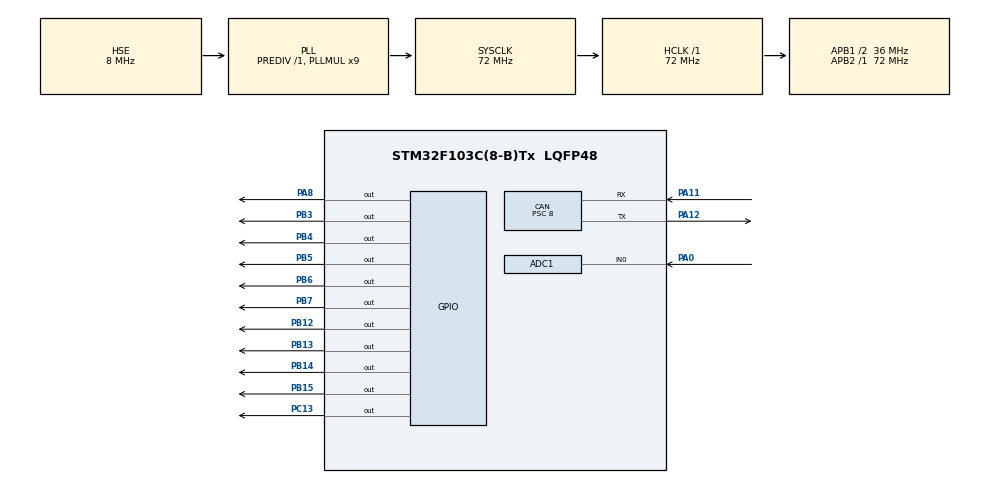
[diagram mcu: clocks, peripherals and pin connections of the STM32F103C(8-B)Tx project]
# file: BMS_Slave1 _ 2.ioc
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ADC1.Channel-0\#ChannelRegularConversion=ADC_CHANNEL_0
ADC1.NbrOfConversionFlag=1
ADC1.Rank-0\#ChannelRegularConversion=1
ADC1.SamplingTime-0\#ChannelRegularConversion=ADC_SAMPLETIME_1CYCLE_5
ADC1.master=1
CAN.BS1=CAN_BS1_4TQ
CAN.BS2=CAN_BS2_4TQ
CAN.CalculateBaudRate=500000
CAN.CalculateTimeBit=2000
CAN.CalculateTimeQuantum=222.22222222222223
CAN.Prescaler=8
Mcu.Family=STM32F1
Mcu.Name=STM32F103C(8-B)Tx
Mcu.Package=LQFP48
NVIC.PriorityGroup=NVIC_PRIORITYGROUP_4
PA0-WKUP.Signal=ADCx_IN0
PA11.Mode=CAN_Activate
PA11.Signal=CAN_RX
PA12.Mode=CAN_Activate
PA12.Signal=CAN_TX
PA13.Mode=Serial_Wire
PA13.Signal=SYS_JTMS-SWDIO
PA14.Mode=Serial_Wire
PA14.Signal=SYS_JTCK-SWCLK
PA8.Signal=GPIO_Output
PB12.Signal=GPIO_Output
PB13.Signal=GPIO_Output
PB14.Signal=GPIO_Output
PB15.Signal=GPIO_Output
PB3.Signal=GPIO_Output
PB4.Signal=GPIO_Output
PB5.Signal=GPIO_Output
PB6.Signal=GPIO_Output
PB7.Signal=GPIO_Output
PC13-TAMPER-RTC.Signal=GPIO_Output
PD0-OSC_IN.Mode=HSE-External-Oscillator
PD0-OSC_IN.Signal=RCC_OSC_IN
PD1-OSC_OUT.Mode=HSE-External-Oscillator
PD1-OSC_OUT.Signal=RCC_OSC_OUT
ProjectManager.HeapSize=0x200
ProjectManager.StackSize=0x400
ProjectManager.TargetToolchain=STM32CubeIDE
RCC.ADCPresc=RCC_ADCPCLK2_DIV6
RCC.AHBFreq_Value=72000000
RCC.APB1CLKDivider=RCC_HCLK_DIV2
RCC.APB1Freq_Value=36000000
RCC.APB1TimFreq_Value=72000000
RCC.APB2Freq_Value=72000000
RCC.APB2TimFreq_Value=72000000
RCC.HCLKFreq_Value=72000000
RCC.PLLMUL=RCC_PLL_MUL9
RCC.PLLSourceVirtual=RCC_PLLSOURCE_HSE
RCC.SYSCLKFreq_VALUE=72000000
RCC.SYSCLKSource=RCC_SYSCLKSOURCE_PLLCLK
RCC.USBFreq_Value=72000000
SH.ADCx_IN0.0=ADC1_IN0,IN0
board=custom

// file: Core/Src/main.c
/* USER CODE BEGIN Header */
/**
  ******************************************************************************
  * @file           : main.c
  * @brief          : Main program body
  ******************************************************************************
  * @attention
  *
  * Copyright (c) 2024 STMicroelectronics.
  * All rights reserved.
  *
  * This software is licensed under terms that can be found in the LICENSE file
  * in the root directory of this software component.
  * If no LICENSE file comes with this software, it is provided AS-IS.
  *
  ******************************************************************************
  */
/* USER CODE END Header */
#include "main.h"

/* USER CODE BEGIN Includes */
#include "main.h"
#include <math.h>
/* USER CODE END Includes */

ADC_HandleTypeDef hadc1;

CAN_HandleTypeDef hcan;

/* USER CODE BEGIN PV */
uint16_t adc1, adc2;
int count=0;
int counter=0;
int i=0;
int flag=0;
int j=0;
int b_con;
float temp1;
float temp2;
float voltage1;
float voltage2;
float voltage3;
float voltage4;
float voltage5;
float voltage6;
float voltage7;
float voltage8;
float voltage9;
float voltage10;
float maxvalue;
float minvalue;
int maxindex;
int minindex;
float voltages[10]={};

uint32_t TxMailbox;
float sendData[2];
float voltages[10];
float temps[2];

/* USER CODE END PV */

void SystemClock_Config(void);
static void MX_GPIO_Init(void);
static void MX_ADC1_Init(void);
static void MX_CAN_Init(void);
/* USER CODE BEGIN PFP */
double Thermistor(uint16_t analogValue){
    // Sıfıra bölme hatasını önlemek için kontrol ekleyin
    if (analogValue == 0) {
        return -273.15; // Hata durumunda düşük bir sıcaklık döndürün
    }

    // ADC çözünürlüğü ve direnç hesaplaması
    double resistance = ((40950000.0 / analogValue) - 10000);
    double temperature;

    // Direnç logaritmasını alın
    temperature = log(resistance);

    // Sıcaklık hesaplaması (Steinhart-Hart denklemi)
    temperature = 1 / (0.001129148 + (0.000234125 + (0.0000000876741 * temperature * temperature)) * temperature);
    temperature = temperature - 273.15;

    return temperature;
}
/* USER CODE END PFP */

/* USER CODE BEGIN 0 */
CAN_TxHeaderTypeDef TxHeader;
/* USER CODE END 0 */

int main(void)
{

  /* MCU Configuration--------------------------------------------------------*/

  /* Reset of all peripherals, Initializes the Flash interface and the Systick. */
  HAL_Init();

  /* Configure the system clock */
  SystemClock_Config();

  /* Initialize all configured peripherals */
  MX_GPIO_Init();
  MX_ADC1_Init();
  MX_CAN_Init();
  /* USER CODE BEGIN 2 */
  HAL_StatusTypeDef ret;
  ret = HAL_ADCEx_Calibration_Start(&hadc1);
  if(ret != HAL_OK){
	  Error_Handler();
  }
  HAL_Delay(10);
  HAL_GPIO_WritePin(GPIOC, GPIO_PIN_13, 1);

  HAL_CAN_Start(&hcan);
  TxHeader.DLC = 8;
  TxHeader.IDE = CAN_ID_EXT;
  TxHeader.RTR = CAN_RTR_DATA;

  /* USER CODE END 2 */

  /* Infinite loop */
  while (1)
  {

    /* USER CODE BEGIN 3 */
	  HAL_GPIO_WritePin(GPIOB, GPIO_PIN_12, 1);

	  // Voltage Measurement
	 	  switch(count){

	 	  	  case 0:
	 	  		  HAL_GPIO_WritePin(GPIOB, GPIO_PIN_13, 0);	//S3
	 	  		  HAL_GPIO_WritePin(GPIOB, GPIO_PIN_14, 0);	//S2
	 	  		  HAL_GPIO_WritePin(GPIOB, GPIO_PIN_15, 0);	//S1
	 	  		  HAL_GPIO_WritePin(GPIOA, GPIO_PIN_8, 0); //S0
	 	  		  HAL_Delay(100);
	 	  		  HAL_GPIO_WritePin(GPIOB, GPIO_PIN_12, 0);	//E
	 	  		  HAL_ADC_Start(&hadc1);
	 	  		  HAL_ADC_PollForConversion(&hadc1, 100);
	 	  		  adc1= HAL_ADC_GetValue(&hadc1);
	 	  		  voltage1= ((adc1*3.282)/4095.0)*(5.012);
	 	  		  HAL_Delay(500);
	 	  		/*  HAL_ADC_Stop(&hadc1);
	 	  		  HAL_Delay(50);
	 	  		  Temperature_Read();
	 	  		  */
	 	  		  break;

	 	  	  case 1:
	 	  		  HAL_GPIO_WritePin(GPIOB, GPIO_PIN_13, 0);	//S3
	 	  		  HAL_GPIO_WritePin(GPIOB, GPIO_PIN_14, 0);	//S2
	 	  		  HAL_GPIO_WritePin(GPIOB, GPIO_PIN_15, 0);	//S1
	 	  		  HAL_GPIO_WritePin(GPIOA, GPIO_PIN_8, 1); //S0
	 	  		  HAL_Delay(10);
	 	  		  HAL_GPIO_WritePin(GPIOB, GPIO_PIN_12, 0);	//E
	 	  		  HAL_ADC_Start(&hadc1);
	 	   		  HAL_ADC_PollForConversion(&hadc1, 100);
	 	  		  adc1= HAL_ADC_GetValue(&hadc1);
	 	  		  voltage2= ((adc1*3.282)/4095.0)*(4.981);
	 	  		  HAL_Delay(500);
	 	  		 /* HAL_ADC_Stop(&hadc1);
	 	  		  HAL_Delay(50);
	 	  		  Temperature_Read();
	 	  		  */
	 	  		  break;

	 	  	  case 2:
	 	  		  HAL_GPIO_WritePin(GPIOB, GPIO_PIN_13, 0);	//S3
	 	  		  HAL_GPIO_WritePin(GPIOB, GPIO_PIN_14, 0);	//S2
	 	  		  HAL_GPIO_WritePin(GPIOB, GPIO_PIN_15, 1);	//S1
	 	  		  HAL_GPIO_WritePin(GPIOA, GPIO_PIN_8, 0); //S0
	 	  		  HAL_Delay(10);
	 	  		  HAL_GPIO_WritePin(GPIOB, GPIO_PIN_12, 0);	//E
	 	  		  HAL_ADC_Start(&hadc1);
	 	   		  HAL_ADC_PollForConversion(&hadc1, 100);
	 	  		  adc1= HAL_ADC_GetValue(&hadc1);
	 	  		  voltage3= ((adc1*3.282)/4095.0)*(4.981);
	 	  		  HAL_Delay(500);
	 	  		/*  HAL_ADC_Stop(&hadc1);
	 	  		  HAL_Delay(50);
	 	  		  Temperature_Read();
	 	  		  */
	 	  		  break;

	 	  	  case 3:
	 	  		  HAL_GPIO_WritePin(GPIOB, GPIO_PIN_13, 0);	//S3
	 	  		  HAL_GPIO_WritePin(GPIOB, GPIO_PIN_14, 0);	//S2
	 	  		  HAL_GPIO_WritePin(GPIOB, GPIO_PIN_15, 1);	//S1
	 	  		  HAL_GPIO_WritePin(GPIOA, GPIO_PIN_8, 1); //S0
	 	  		  HAL_Delay(10);
	 	  		  HAL_GPIO_WritePin(GPIOB, GPIO_PIN_12, 0);	//E
	 	  		  HAL_ADC_Start(&hadc1);
	 	   		  HAL_ADC_PollForConversion(&hadc1, 100);
	 	  		  adc1= HAL_ADC_GetValue(&hadc1);
	 	  		  voltage4= ((adc1*3.282)/4095.0)*(4.952);
	 	  		  HAL_Delay(500);
	 	  		/*  HAL_ADC_Stop(&hadc1);
	 	  		  HAL_Delay(50);
	 	  		  Temperature_Read();
	 	  		  */
	 	  		  break;

	 	  	  case 4:
	 	  		  HAL_GPIO_WritePin(GPIOB, GPIO_PIN_13, 0);	//S3
	 	  		  HAL_GPIO_WritePin(GPIOB, GPIO_PIN_14, 1);	//S2
	 	  		  HAL_GPIO_WritePin(GPIOB, GPIO_PIN_15, 0);	//S1
	 	  		  HAL_GPIO_WritePin(GPIOA, GPIO_PIN_8, 0); //S0
	 	  		  HAL_Delay(10);
	 	  		  HAL_GPIO_WritePin(GPIOB, GPIO_PIN_12, 0);	//E
	 	  		  HAL_ADC_Start(&hadc1);
	 	   		  HAL_ADC_PollForConversion(&hadc1, 100);
	 	  		  adc1= HAL_ADC_GetValue(&hadc1);
	 	  		  voltage5= ((adc1*3.282)/4095.0)*(4.993);
	 	  		  HAL_Delay(500);
	 	  		/*  HAL_ADC_Stop(&hadc1);
	 	  		  HAL_Delay(50);
	 	  		  Temperature_Read();
	 	  		  */
	 	  		  break;

	 	  	  case 5:
	 	  		  HAL_GPIO_WritePin(GPIOB, GPIO_PIN_13, 0);	//S3
	 	  		  HAL_GPIO_WritePin(GPIOB, GPIO_PIN_14, 1);	//S2
	 	  		  HAL_GPIO_WritePin(GPIOB, GPIO_PIN_15, 0);	//S1
	 	  		  HAL_GPIO_WritePin(GPIOA, GPIO_PIN_8, 1); //S0
	 	  		  HAL_Delay(10);
	 	  		  HAL_GPIO_WritePin(GPIOB, GPIO_PIN_12, 0);	//E
	 	  		  HAL_ADC_Start(&hadc1);
	 	   		  HAL_ADC_PollForConversion(&hadc1, 100);
	 	  		  adc1= HAL_ADC_GetValue(&hadc1);
	 	  		  voltage6= ((adc1*3.282)/4095.0)*(4.946);
	 	  		  HAL_Delay(500);
	 	  		/*  HAL_ADC_Stop(&hadc1);
	 	  		  HAL_Delay(50);
	 	  		  Temperature_Read();
	 	  		  */
	 	  		  break;

	 	  	  case 6:
	 	  		  HAL_GPIO_WritePin(GPIOB, GPIO_PIN_13, 0);	//S3
	 	  		  HAL_GPIO_WritePin(GPIOB, GPIO_PIN_14, 1);	//S2
	 	  		  HAL_GPIO_WritePin(GPIOB, GPIO_PIN_15, 1);	//S1
	 	  		  HAL_GPIO_WritePin(GPIOA, GPIO_PIN_8, 0); //S0
	 	  		  HAL_GPIO_WritePin(GPIOB, GPIO_PIN_12, 0);	//E
	 	  		  HAL_Delay(10);
	 	  		  HAL_ADC_Start(&hadc1);
	 	   		  HAL_ADC_PollForConversion(&hadc1, 100);
	 	  		  adc1= HAL_ADC_GetValue(&hadc1);
	 	  		  voltage7= ((adc1*3.282)/4095.0)*(9.656);
	 	  		  HAL_Delay(500);
	 	  		/*  HAL_ADC_Stop(&hadc1);
	 	  		  HAL_Delay(50);
	 	  		  Temperature_Read();
	 	  		  */
	 	  		  break;

	 	  	  case 7:
	 	  		  HAL_GPIO_WritePin(GPIOB, GPIO_PIN_13, 0);	//S3
	 	  		  HAL_GPIO_WritePin(GPIOB, GPIO_PIN_14, 1);	//S2
	 	  		  HAL_GPIO_WritePin(GPIOB, GPIO_PIN_15, 1);	//S1
	 	  		  HAL_GPIO_WritePin(GPIOA, GPIO_PIN_8, 1); //S0
	 	  		  HAL_Delay(10);
	 	  		  HAL_GPIO_WritePin(GPIOB, GPIO_PIN_12, 0);	//E
	 	  		  HAL_ADC_Start(&hadc1);
	 	   		  HAL_ADC_PollForConversion(&hadc1, 100);
	 	  		  adc1= HAL_ADC_GetValue(&hadc1);
	 	  		  voltage8= ((adc1*3.282)/4095.0)*(9.974);
	 	  		  HAL_Delay(500);
	 	  		/*  HAL_ADC_Stop(&hadc1);
	 	  		  HAL_Delay(50);
	 	  		  Temperature_Read();
	 	  		  */
	 	  		  break;

	 	  	  case 8:
	 	  		  HAL_GPIO_WritePin(GPIOB, GPIO_PIN_13, 1);	//S3
	 	  		  HAL_GPIO_WritePin(GPIOB, GPIO_PIN_14, 0);	//S2
	 	  		  HAL_GPIO_WritePin(GPIOB, GPIO_PIN_15, 0);	//S1
	 	  		  HAL_GPIO_WritePin(GPIOA, GPIO_PIN_8, 0); //S0
	 	  		  HAL_Delay(10);
	 	  		  HAL_GPIO_WritePin(GPIOB, GPIO_PIN_12, 0);	//E
	 	  		  HAL_ADC_Start(&hadc1);
	 	   		  HAL_ADC_PollForConversion(&hadc1, 100);
	 	  		  adc1= HAL_ADC_GetValue(&hadc1);
	 	  		  voltage9= ((adc1*3.282)/4095.0)*(9.875);
	 	  		  HAL_Delay(500);
	 	  		/*  HAL_ADC_Stop(&hadc1);
	 	  		  HAL_Delay(50);
	 	  		  Temperature_Read();
	 	  		  */
	 	  		  break;

	 	  	  case 9:
	 	  		  HAL_GPIO_WritePin(GPIOB, GPIO_PIN_13, 1);	//S3
	 	  		  HAL_GPIO_WritePin(GPIOB, GPIO_PIN_14, 0);	//S2
	 	  		  HAL_GPIO_WritePin(GPIOB, GPIO_PIN_15, 0);	//S1
	 	  		  HAL_GPIO_WritePin(GPIOA, GPIO_PIN_8, 1); //S0
	 	  		  HAL_Delay(10);
	 	  		  HAL_GPIO_WritePin(GPIOB, GPIO_PIN_12, 0);	//E
	 	  		  HAL_ADC_Start(&hadc1);
	 	   		  HAL_ADC_PollForConversion(&hadc1, 100);
	 	  		  adc1= HAL_ADC_GetValue(&hadc1);
	 	  		  voltage10= ((adc1*3.282)/4095.0)*(9.875);
	 	  		  HAL_Delay(500);
	 	  		/*  HAL_ADC_Stop(&hadc1);
	 	  		  HAL_Delay(50);
	 	  		  Temperature_Read();
	 	  		  */
	 	  		  break;

	 	  	 case 10:
	 			  HAL_GPIO_WritePin(GPIOB, GPIO_PIN_13, 1);	//S3
	 			  HAL_GPIO_WritePin(GPIOB, GPIO_PIN_14, 0);	//S2
	 			  HAL_GPIO_WritePin(GPIOB, GPIO_PIN_15, 1);	//S1
	 			  HAL_GPIO_WritePin(GPIOA, GPIO_PIN_8, 0); //S0
	 			  HAL_Delay(10);
	 			  HAL_GPIO_WritePin(GPIOB, GPIO_PIN_12, 0);	//E
	 			  HAL_ADC_Start(&hadc1);
	 			  adc1 = HAL_ADC_GetValue(&hadc1);
	 			  temp1 = Thermistor(adc1);
	 			  HAL_Delay(500);
	 		 /*  HAL_ADC_Stop(&hadc1);
	 			 HAL_Delay(50);
	 	   	  Temperature_Read();
	 							  */
	 			 break;

	 	  	 case 11:
	 	  		 HAL_GPIO_WritePin(GPIOB, GPIO_PIN_13, 1);	//S3
	 	  		 HAL_GPIO_WritePin(GPIOB, GPIO_PIN_14, 0);	//S2
	 	  		 HAL_GPIO_WritePin(GPIOB, GPIO_PIN_15, 1);	//S1
	 	  		 HAL_GPIO_WritePin(GPIOA, GPIO_PIN_8, 1); //S0
	 	  		 HAL_Delay(10);
	 	  		 HAL_GPIO_WritePin(GPIOB, GPIO_PIN_12, 0);	//E
	 	  		 HAL_ADC_Start(&hadc1);
	 	  		 adc1 = HAL_ADC_GetValue(&hadc1);
	 	  		 temp2 = Thermistor(adc1);
	 	  		  		  HAL_Delay(500);
	 	  		  		/*  HAL_ADC_Stop(&hadc1);
	 	  		  		  HAL_Delay(50);
	 	  		  		  Temperature_Read();
	 	  		  		  */
	 	  		  		  break;
	 	  	  }

	 	 float voltages[10]= {voltage1,voltage2,voltage3,voltage4,voltage5,voltage6,voltage7,voltage8,voltage9,voltage10};
	 	 	  	  	 maxvalue=0;
	 	 	  	  	 maxindex=0;
	 	 	  	  	 minvalue=5;
	 	 	  	  	 minindex=0;
	 	 	  	  	  for(i=0; i<10; i++){
	 	 	  	  		  if(maxvalue < voltages[i]){
	 	 	  	  			  maxvalue = voltages[i];
	 	 	  	  			  maxindex = i+1;
	 	 	  	  		  }
	 	 	  	  		  if(minvalue > voltages[i]){
	 	 	  	  		  	  minvalue = voltages[i];
	 	 	  	  		  	  minindex = i+1;
	 	 	  	   		  }
	 	 	  	  	  	  	  	  }

	 	 if(maxvalue-minvalue > 0.1 && maxvalue > 3.5 && b_con==0){
	 	 	  	  		  flag = maxindex -1;
	 	 	  	  	  }

	 	 // CANBUS
	 	 TxHeader.ExtId = 0x0FFFFFF0;
	 	 sendData[0] = voltage1;
	 	 sendData[1] = voltage2;
	 	 HAL_CAN_AddTxMessage(&hcan, &TxHeader, sendData, &TxMailbox);
	 	 HAL_Delay(10);

	 	 TxHeader.ExtId = 0x0FFFFFF1;
	 	 sendData[0] = voltage3;
	 	 sendData[1] = voltage4;
	 	 HAL_CAN_AddTxMessage(&hcan, &TxHeader, sendData, &TxMailbox);
	 	 HAL_Delay(10);

	 	 TxHeader.ExtId = 0x0FFFFFF2;
	 	 sendData[0] = voltage5;
	 	 sendData[1] = voltage6;
	 	 HAL_CAN_AddTxMessage(&hcan, &TxHeader, sendData, &TxMailbox);
	 	 HAL_Delay(10);

	 	 TxHeader.ExtId = 0x0FFFFFF3;
	 	 sendData[0] = voltage7;
	 	 sendData[1] = voltage8;
	 	 HAL_CAN_AddTxMessage(&hcan, &TxHeader, sendData, &TxMailbox);
	 	 HAL_Delay(10);

	 	 TxHeader.ExtId = 0x0FFFFFF4;
	 	 sendData[0] = voltage9;
	 	 sendData[1] = voltage10;
	 	 HAL_CAN_AddTxMessage(&hcan, &TxHeader, sendData, &TxMailbox);
	 	 HAL_Delay(10);

	 	 TxHeader.ExtId = 0x0FFFFFF5;
	 	 sendData[0] = temp1;
	 	 sendData[1] = temp2;
	 	 HAL_CAN_AddTxMessage(&hcan, &TxHeader, sendData, &TxMailbox);
	 	 HAL_Delay(10);

	 	 // Balancing Mux
	 	switch(flag){

	 	 	  	  	  case 0:
	 	 	  	  	   HAL_GPIO_WritePin(GPIOB, GPIO_PIN_7, 0); //B3
	 	 	  	  	   HAL_GPIO_WritePin(GPIOB, GPIO_PIN_6, 0);	//B2
	 	 	  	  	   HAL_GPIO_WritePin(GPIOB, GPIO_PIN_4, 0);	//B1
	 	 	  	  	   HAL_GPIO_WritePin(GPIOB, GPIO_PIN_3, 0);	//B0
	 	 	  	  	   HAL_Delay(10);
	 	 	  	  	   HAL_GPIO_WritePin(GPIOB, GPIO_PIN_5, 0); //E
	 	 	  	  	   break;

	 	 	  	  	  	  		  		  case 1:
	 	 	  	  	  	  		  			  HAL_GPIO_WritePin(GPIOB, GPIO_PIN_7, 0);	//B3
	 	 	  	  	  	  		  			  HAL_GPIO_WritePin(GPIOB, GPIO_PIN_6, 0);	//B2
	 	 	  	  	  	  		  			  HAL_GPIO_WritePin(GPIOB, GPIO_PIN_4, 0);	//B1
	 	 	  	  	  	  		  			  HAL_GPIO_WritePin(GPIOB, GPIO_PIN_3, 1);	//B0
	 	 	  	  	  	  		  			  HAL_Delay(10);
	 	 	  	  	  	  		  			  HAL_GPIO_WritePin(GPIOB, GPIO_PIN_5, 0);	//E
	 	 	  	  	  	  		  			  break;

	 	 	  	  	  	  		  		  case 2:
	 	 	  	  	  	  		  			  HAL_GPIO_WritePin(GPIOB, GPIO_PIN_7, 0);	//B3
	 	 	  	  	  	  		  			  HAL_GPIO_WritePin(GPIOB, GPIO_PIN_6, 0);	//B2
	 	 	  	  	  	  		  			  HAL_GPIO_WritePin(GPIOB, GPIO_PIN_4, 1);	//B1
	 	 	  	  	  	  		  			  HAL_GPIO_WritePin(GPIOB, GPIO_PIN_3, 0);	//B0
	 	 	  	  	  	  		  			  HAL_Delay(10);
	 	 	  	  	  	  		  			  HAL_GPIO_WritePin(GPIOB, GPIO_PIN_5, 0);	//E
	 	 	  	  	  	  		  			  break;

	 	 	  	  	  	  		  		  case 3:
	 	 	  	  	  	  		  			  HAL_GPIO_WritePin(GPIOB, GPIO_PIN_7, 0);	//B3
	 	 	  	  	  	  		  			  HAL_GPIO_WritePin(GPIOB, GPIO_PIN_6, 0);	//B2
	 	 	  	  	  	  		  			  HAL_GPIO_WritePin(GPIOB, GPIO_PIN_4, 1);	//B1
	 	 	  	  	  	  		  			  HAL_GPIO_WritePin(GPIOB, GPIO_PIN_3, 1);	//B0
	 	 	  	  	  	  		  			  HAL_Delay(10);
	 	 	  	  	  	  		  			  HAL_GPIO_WritePin(GPIOB, GPIO_PIN_5, 0);	//E
	 	 	  	  	  	  		  			  break;

	 	 	  	  	  	  		  		  case 4:
	 	 	  	  	  	  		  			  HAL_GPIO_WritePin(GPIOB, GPIO_PIN_7, 0);	//B3
	 	 	  	  	  	  		  			  HAL_GPIO_WritePin(GPIOB, GPIO_PIN_6, 1);	//B2
	 	 	  	  	  	  		  			  HAL_GPIO_WritePin(GPIOB, GPIO_PIN_4, 0);	//B1
	 	 	  	  	  	  		  			  HAL_GPIO_WritePin(GPIOB, GPIO_PIN_3, 0);	//B0
	 	 	  	  	  	  		  			  HAL_Delay(10);
	 	 	  	  	  	  		  			  HAL_GPIO_WritePin(GPIOB, GPIO_PIN_5, 0);	//E
	 	 	  	  	  	  		  			  break;

	 	 	  	  	  	  		  		  case 5:
	 	 	  	  	  	  		  			  HAL_GPIO_WritePin(GPIOB, GPIO_PIN_7, 0);	//B3
	 	 	  	  	  	  		  			  HAL_GPIO_WritePin(GPIOB, GPIO_PIN_6, 1);	//B2
	 	 	  	  	  	  		  			  HAL_GPIO_WritePin(GPIOB, GPIO_PIN_4, 0);	//B1
	 	 	  	  	  	  		  			  HAL_GPIO_WritePin(GPIOB, GPIO_PIN_3, 1);	//B0
	 	 	  	  	  	  		  			  HAL_Delay(10);
	 	 	  	  	  	  		  			  HAL_GPIO_WritePin(GPIOB, GPIO_PIN_5, 0);	//E
	 	 	  	  	  	  		  			  break;

	 	 	  	  	  	  		  		  case 6:
	 	 	  	  	  	  		  			  HAL_GPIO_WritePin(GPIOB, GPIO_PIN_7, 0);	//B3
	 	 	  	  	  	  		  			  HAL_GPIO_WritePin(GPIOB, GPIO_PIN_6, 1);	//B2
	 	 	  	  	  	  		  			  HAL_GPIO_WritePin(GPIOB, GPIO_PIN_4, 1);	//B1
	 	 	  	  	  	  		  			  HAL_GPIO_WritePin(GPIOB, GPIO_PIN_3, 0);	//B0
	 	 	  	  	  	  		  			  HAL_Delay(10);
	 	 	  	  	  	  		  			  HAL_GPIO_WritePin(GPIOB, GPIO_PIN_5, 0);	//E
	 	 	  	  	  	  		  			  break;

	 	 	  	  	  	  		  		  case 7:
	 	 	  	  	  	  		  			  HAL_GPIO_WritePin(GPIOB, GPIO_PIN_7, 0);	//B3
	 	 	  	  	  	  		  			  HAL_GPIO_WritePin(GPIOB, GPIO_PIN_6, 1);	//B2
	 	 	  	  	  	  		  			  HAL_GPIO_WritePin(GPIOB, GPIO_PIN_4, 1);	//B1
	 	 	  	  	  	  		  			  HAL_GPIO_WritePin(GPIOB, GPIO_PIN_3, 1);	//B0
	 	 	  	  	  	  		  			  HAL_Delay(10);
	 	 	  	  	  	  		  			  HAL_GPIO_WritePin(GPIOB, GPIO_PIN_5, 0);	//E
	 	 	  	  	  	  		  			  break;

	 	 	  	  	  	  		  		  case 8:
	 	 	  	  	  	  		  			  HAL_GPIO_WritePin(GPIOB, GPIO_PIN_7, 1);	//B3
	 	 	  	  	  	  		  			  HAL_GPIO_WritePin(GPIOB, GPIO_PIN_6, 0);	//B2
	 	 	  	  	  	  		  			  HAL_GPIO_WritePin(GPIOB, GPIO_PIN_4, 0);	//B1
	 	 	  	  	  	  		  			  HAL_GPIO_WritePin(GPIOB, GPIO_PIN_3, 0);	//B0
	 	 	  	  	  	  		  			  HAL_Delay(10);
	 	 	  	  	  	  		  			  HAL_GPIO_WritePin(GPIOB, GPIO_PIN_5, 0);	//E
	 	 	  	  	  	  		  			  break;

	 	 	  	  	  	  		  		  case 9:
	 	 	  	  	  	  		  			  HAL_GPIO_WritePin(GPIOB, GPIO_PIN_7, 1);	//B3
	 	 	  	  	  	  		  			  HAL_GPIO_WritePin(GPIOB, GPIO_PIN_6, 0);	//B2
	 	 	  	  	  	  		  			  HAL_GPIO_WritePin(GPIOB, GPIO_PIN_4, 0);	//B1
	 	 	  	  	  	  		  			  HAL_GPIO_WritePin(GPIOB, GPIO_PIN_3, 1);	//B0
	 	 	  	  	  	  		  			  HAL_Delay(10);
	 	 	  	  	  	  		  			  HAL_GPIO_WritePin(GPIOB, GPIO_PIN_5, 0);	//E
	 	 	  	  	  	  		  			  break;
	 	 	  	  	  	  		  		  }

	 	 	  	HAL_Delay(100);
	 	 	  	count++;
	 	 	  	counter++;
	 	 	  	b_con = counter % 100;
	 	 	  	if(count>11){
	 	 	  	count=0;
	 	 	  	}
  }
  /* USER CODE END 3 */
}

void SystemClock_Config(void)
{
  RCC_OscInitTypeDef RCC_OscInitStruct = {0};
  RCC_ClkInitTypeDef RCC_ClkInitStruct = {0};
  RCC_PeriphCLKInitTypeDef PeriphClkInit = {0};

  /** Initializes the RCC Oscillators according to the specified parameters
  * in the RCC_OscInitTypeDef structure.
  */
  RCC_OscInitStruct.OscillatorType = RCC_OSCILLATORTYPE_HSE;
  RCC_OscInitStruct.HSEState = RCC_HSE_ON;
  RCC_OscInitStruct.HSEPredivValue = RCC_HSE_PREDIV_DIV1;
  RCC_OscInitStruct.HSIState = RCC_HSI_ON;
  RCC_OscInitStruct.PLL.PLLState = RCC_PLL_ON;
  RCC_OscInitStruct.PLL.PLLSource = RCC_PLLSOURCE_HSE;
  RCC_OscInitStruct.PLL.PLLMUL = RCC_PLL_MUL9;
  if (HAL_RCC_OscConfig(&RCC_OscInitStruct) != HAL_OK)
  {
    Error_Handler();
  }

  /** Initializes the CPU, AHB and APB buses clocks
  */
  RCC_ClkInitStruct.ClockType = RCC_CLOCKTYPE_HCLK|RCC_CLOCKTYPE_SYSCLK
                              |RCC_CLOCKTYPE_PCLK1|RCC_CLOCKTYPE_PCLK2;
  RCC_ClkInitStruct.SYSCLKSource = RCC_SYSCLKSOURCE_PLLCLK;
  RCC_ClkInitStruct.AHBCLKDivider = RCC_SYSCLK_DIV1;
  RCC_ClkInitStruct.APB1CLKDivider = RCC_HCLK_DIV2;
  RCC_ClkInitStruct.APB2CLKDivider = RCC_HCLK_DIV1;

  if (HAL_RCC_ClockConfig(&RCC_ClkInitStruct, FLASH_LATENCY_2) != HAL_OK)
  {
    Error_Handler();
  }
  PeriphClkInit.PeriphClockSelection = RCC_PERIPHCLK_ADC;
  PeriphClkInit.AdcClockSelection = RCC_ADCPCLK2_DIV6;
  if (HAL_RCCEx_PeriphCLKConfig(&PeriphClkInit) != HAL_OK)
  {
    Error_Handler();
  }
}

static void MX_ADC1_Init(void)
{

  ADC_ChannelConfTypeDef sConfig = {0};

  /** Common config
  */
  hadc1.Instance = ADC1;
  hadc1.Init.ScanConvMode = ADC_SCAN_DISABLE;
  hadc1.Init.ContinuousConvMode = DISABLE;
  hadc1.Init.DiscontinuousConvMode = DISABLE;
  hadc1.Init.ExternalTrigConv = ADC_SOFTWARE_START;
  hadc1.Init.DataAlign = ADC_DATAALIGN_RIGHT;
  hadc1.Init.NbrOfConversion = 1;
  if (HAL_ADC_Init(&hadc1) != HAL_OK)
  {
    Error_Handler();
  }

  /** Configure Regular Channel
  */
  sConfig.Channel = ADC_CHANNEL_0;
  sConfig.Rank = ADC_REGULAR_RANK_1;
  sConfig.SamplingTime = ADC_SAMPLETIME_1CYCLE_5;
  if (HAL_ADC_ConfigChannel(&hadc1, &sConfig) != HAL_OK)
  {
    Error_Handler();
  }

}

static void MX_CAN_Init(void)
{

  hcan.Instance = CAN1;
  hcan.Init.Prescaler = 8;
  hcan.Init.Mode = CAN_MODE_NORMAL;
  hcan.Init.SyncJumpWidth = CAN_SJW_1TQ;
  hcan.Init.TimeSeg1 = CAN_BS1_4TQ;
  hcan.Init.TimeSeg2 = CAN_BS2_4TQ;
  hcan.Init.TimeTriggeredMode = DISABLE;
  hcan.Init.AutoBusOff = DISABLE;
  hcan.Init.AutoWakeUp = DISABLE;
  hcan.Init.AutoRetransmission = DISABLE;
  hcan.Init.ReceiveFifoLocked = DISABLE;
  hcan.Init.TransmitFifoPriority = DISABLE;
  if (HAL_CAN_Init(&hcan) != HAL_OK)
  {
    Error_Handler();
  }
  /* USER CODE BEGIN CAN_Init 2 */
  CAN_FilterTypeDef canfilterconfig;

  canfilterconfig.FilterActivation = CAN_FILTER_ENABLE;
  canfilterconfig.FilterBank = 10;  // which filter bank to use from the assigned ones
  canfilterconfig.FilterFIFOAssignment = CAN_FILTER_FIFO0;
  canfilterconfig.FilterIdHigh = 0x000<<5;
  canfilterconfig.FilterIdLow = 0;
  canfilterconfig.FilterMaskIdHigh = 0x000<<5;
  canfilterconfig.FilterMaskIdLow = 0x0000;
  canfilterconfig.FilterMode = CAN_FILTERMODE_IDMASK;
  canfilterconfig.FilterScale = CAN_FILTERSCALE_32BIT;
  canfilterconfig.SlaveStartFilterBank = 13;  // how many filters to assign to the CAN1 (master can)

  HAL_CAN_ConfigFilter(&hcan, &canfilterconfig);

  /* USER CODE END CAN_Init 2 */

}

static void MX_GPIO_Init(void)
{
  GPIO_InitTypeDef GPIO_InitStruct = {0};

  /* GPIO Ports Clock Enable */
  __HAL_RCC_GPIOC_CLK_ENABLE();
  __HAL_RCC_GPIOD_CLK_ENABLE();
  __HAL_RCC_GPIOA_CLK_ENABLE();
  __HAL_RCC_GPIOB_CLK_ENABLE();

  /*Configure GPIO pin Output Level */
  HAL_GPIO_WritePin(GPIOC, GPIO_PIN_13, GPIO_PIN_RESET);

  /*Configure GPIO pin Output Level */
  HAL_GPIO_WritePin(GPIOB, GPIO_PIN_12|GPIO_PIN_13|GPIO_PIN_14|GPIO_PIN_15
                          |GPIO_PIN_3|GPIO_PIN_4|GPIO_PIN_5|GPIO_PIN_6
                          |GPIO_PIN_7, GPIO_PIN_RESET);

  /*Configure GPIO pin Output Level */
  HAL_GPIO_WritePin(GPIOA, GPIO_PIN_8, GPIO_PIN_RESET);

  /*Configure GPIO pin : PC13 */
  GPIO_InitStruct.Pin = GPIO_PIN_13;
  GPIO_InitStruct.Mode = GPIO_MODE_OUTPUT_PP;
  GPIO_InitStruct.Pull = GPIO_NOPULL;
  GPIO_InitStruct.Speed = GPIO_SPEED_FREQ_LOW;
  HAL_GPIO_Init(GPIOC, &GPIO_InitStruct);

  /*Configure GPIO pins : PB12 PB13 PB14 PB15
                           PB3 PB4 PB5 PB6
                           PB7 */
  GPIO_InitStruct.Pin = GPIO_PIN_12|GPIO_PIN_13|GPIO_PIN_14|GPIO_PIN_15
                          |GPIO_PIN_3|GPIO_PIN_4|GPIO_PIN_5|GPIO_PIN_6
                          |GPIO_PIN_7;
  GPIO_InitStruct.Mode = GPIO_MODE_OUTPUT_PP;
  GPIO_InitStruct.Pull = GPIO_NOPULL;
  GPIO_InitStruct.Speed = GPIO_SPEED_FREQ_LOW;
  HAL_GPIO_Init(GPIOB, &GPIO_InitStruct);

  /*Configure GPIO pin : PA8 */
  GPIO_InitStruct.Pin = GPIO_PIN_8;
  GPIO_InitStruct.Mode = GPIO_MODE_OUTPUT_PP;
  GPIO_InitStruct.Pull = GPIO_NOPULL;
  GPIO_InitStruct.Speed = GPIO_SPEED_FREQ_LOW;
  HAL_GPIO_Init(GPIOA, &GPIO_InitStruct);

}

void Error_Handler(void)
{
  __disable_irq();
  while (1)
  {
  }
}
